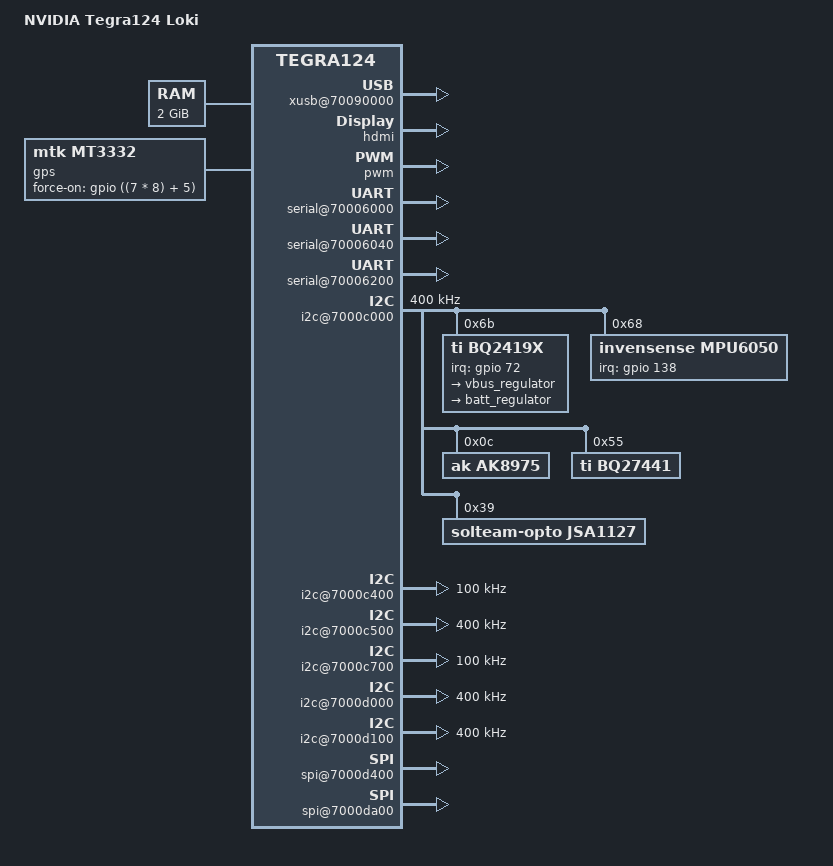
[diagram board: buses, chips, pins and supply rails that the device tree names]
# 1 "/home/abobo/桌面/android_kernel_xiaomi_mocha/arch/arm/boot/dts/tegra124-loki.dts"
# 1 "<built-in>"
# 1 "<命令行>"
# 1 "/home/abobo/桌面/android_kernel_xiaomi_mocha/arch/arm/boot/dts/tegra124-loki.dts"
/dts-v1/;

# 1 "/home/abobo/桌面/android_kernel_xiaomi_mocha/arch/arm/boot/dts/tegra124.dtsi" 1
# 1 "/home/abobo/桌面/android_kernel_xiaomi_mocha/arch/arm/boot/dts/include/dt-bindings/gpio/tegra-gpio.h" 1
# 13 "/home/abobo/桌面/android_kernel_xiaomi_mocha/arch/arm/boot/dts/include/dt-bindings/gpio/tegra-gpio.h"
# 1 "/home/abobo/桌面/android_kernel_xiaomi_mocha/arch/arm/boot/dts/include/dt-bindings/gpio/gpio.h" 1
# 14 "/home/abobo/桌面/android_kernel_xiaomi_mocha/arch/arm/boot/dts/include/dt-bindings/gpio/tegra-gpio.h" 2
# 2 "/home/abobo/桌面/android_kernel_xiaomi_mocha/arch/arm/boot/dts/tegra124.dtsi" 2
# 1 "/home/abobo/桌面/android_kernel_xiaomi_mocha/arch/arm/boot/dts/include/dt-bindings/input/input.h" 1
# 3 "/home/abobo/桌面/android_kernel_xiaomi_mocha/arch/arm/boot/dts/tegra124.dtsi" 2
# 1 "/home/abobo/桌面/android_kernel_xiaomi_mocha/arch/arm/boot/dts/include/dt-bindings/interrupt-controller/arm-gic.h" 1







# 1 "/home/abobo/桌面/android_kernel_xiaomi_mocha/arch/arm/boot/dts/include/dt-bindings/interrupt-controller/irq.h" 1
# 9 "/home/abobo/桌面/android_kernel_xiaomi_mocha/arch/arm/boot/dts/include/dt-bindings/interrupt-controller/arm-gic.h" 2
# 4 "/home/abobo/桌面/android_kernel_xiaomi_mocha/arch/arm/boot/dts/tegra124.dtsi" 2

/include/ "tegra124-soc.dtsi"

# 1 "/home/abobo/桌面/android_kernel_xiaomi_mocha/arch/arm/boot/dts/skeleton.dtsi" 1






/ {
 #address-cells = <1>;
 #size-cells = <1>;
 chosen { };
 aliases { };
 memory { device_type = "memory"; reg = <0 0>; };
};
# 8 "/home/abobo/桌面/android_kernel_xiaomi_mocha/arch/arm/boot/dts/tegra124.dtsi" 2

/ {
 compatible = "nvidia,tegra124";
 interrupt-parent = <&intc>;
 #address-cells = <1>;
 #size-cells = <1>;

 intc: interrupt-controller@50041000 {
  compatible = "arm,cortex-a15-gic";
  interrupt-controller;
  #interrupt-cells = <3>;
  reg = <0x50041000 0x1000>,
        <0x50042000 0x0100>;
 };

 lic: interrupt-controller@60004000 {
  compatible = "nvidia,tegra-gic";
  interrupt-controller;
  reg = <0x60004000 0x40>,
        <0x60004100 0x40>,
        <0x60004200 0x40>,
        <0x60004300 0x40>,
        <0x60004400 0x40>;
        };

 timer {
  compatible = "arm,armv7-timer";
  interrupts = <1 13 0xf04
         1 14 0xf04>;
 };

 xusb@70090000 {
  compatible = "nvidia,tegra124-xhci";
  reg = <0x70090000 0x8000
         0x70098000 0x1000
         0x70099000 0x1000
         0x7009F000 0x1000>;
  interrupts = <0 39 0x04
         0 40 0x04
         0 49 0x04
         0 97 0x04
         0 21 0x04>;
  status = "disable";
 };

 host1x {
  compatible = "nvidia,tegra124-host1x", "simple-bus";
  reg = <0x50000000 0x00028000>;
  interrupts = <0 65 0x04
         0 67 0x04>;
  nvidia,memory-clients = <4 6 7 17>;

  #address-cells = <1>;
  #size-cells = <1>;

  ranges = <0x53000000 0x53000000 0x06000000>;

  vi {
   compatible = "nvidia,tegra124-vi";
   reg = <0x54080000 0x00040000>;
   nvidia,memory-clients = <18>;
  };

  isp@54600000 {
   compatible = "nvidia,tegra124-isp";
   reg = <0x54600000 0x00040000>;
   nvidia,memory-clients = <8 29>;
  };

  isp@54680000 {
   compatible = "nvidia,tegra124-isp";
   reg = <0x54680000 0x00040000>;
   nvidia,memory-clients = <8 29>;
  };

  dc@54200000 {
   compatible = "nvidia,tegra124-dc";
   reg = <0x54200000 0x00040000>;
   interrupts = <0 73 0x04>;
   nvidia,memory-clients = <2>;
   status = "disabled";

   rgb {
    status = "disabled";
   };
  };

  dc@54240000 {
   compatible = "nvidia,tegra124-dc";
   reg = <0x54240000 0x00040000>;
   interrupts = <0 74 0x04>;
   nvidia,memory-clients = <3>;
   status = "disabled";

   rgb {
    status = "disabled";
   };
  };

  hdmi {
   compatible = "nvidia,tegra124-hdmi";
   reg = <0x54280000 0x00040000>;
   interrupts = <0 75 0x04>;
   status = "okay";
  };

  dsi {
   compatible = "nvidia,tegra124-dsi";
   reg = <0x54300000 0x00040000>,
         <0x54400000 0x00040000>;
   status = "disabled";
  };

  vic {
   compatible = "nvidia,tegra124-vic";
   reg = <0x54340000 0x00040000>;
   nvidia,memory-clients = <19>;
  };

  msenc {
   compatible = "nvidia,tegra124-msenc";
   reg = <0x544c0000 0x00040000>;
   nvidia,memory-clients = <11>;
  };

  tsec {
   compatible = "nvidia,tegra124-tsec";
   reg = <0x54500000 0x00040000>;
   nvidia,memory-clients = <23>;
  };

  gk20a {
   compatible = "nvidia,tegra124-gk20a";
   reg = <0x57000000 0x01000000>,
         <0x58000000 0x01000000>,
         <0x538F0000 0x00001000>;
   interrupts = <0 157 0x04
          0 158 0x04>;
   nvidia,memory-clients = <30 31>;
  };
 };

 mipical {
  compatible = "nvidia,tegra124-mipical";
  reg = <0x700e3000 0x00000100>;
 };

 pwm: pwm {
  compatible = "nvidia,tegra124-pwm";
  reg = <0x7000a000 0x100>;
  #pwm-cells = <2>;
  clocks = <&tegra_car 17>;
  status = "okay";
 };


};
# 4 "/home/abobo/桌面/android_kernel_xiaomi_mocha/arch/arm/boot/dts/tegra124-loki.dts" 2


/ {
 model = "NVIDIA Tegra124 Loki";
 compatible = "nvidia,loki", "nvidia,tegra124";
 nvidia,dtsfilename = "/home/abobo/桌面/android_kernel_xiaomi_mocha/arch/arm/boot/dts/tegra124-loki.dts";
 #address-cells = <1>;
 #size-cells = <1>;

 chosen {
  bootargs = "tegraid=40.0.0.00.00 vmalloc=256M video=tegrafb console=ttyS0,115200n8 earlyprintk";
  linux,initrd-start = <0x85000000>;
  linux,initrd-end = <0x851bc400>;
 };

 serial@70006000 {
  compatible = "nvidia,tegra114-hsuart";
  status = "okay";
 };

 serial@70006040 {
  compatible = "nvidia,tegra114-hsuart";
  status = "okay";
 };

 serial@70006200 {
  compatible = "nvidia,tegra114-hsuart";
  status = "okay";
 };

 memory@0x80000000 {
  device_type = "memory";
  reg = <0x80000000 0x80000000>;
 };

 i2c@7000c000 {
  status = "okay";
  clock-frequency = <400000>;
  bq2419x: bq2419x@6b {
   compatible = "ti,bq2419x";
   reg = <0x6b>;
   interrupt-parent = <&gpio>;
   interrupts = <72 0x0>;
   ti,charging-term-current-mA = <100>;

   vbus {
    regulator-name = "vbus_regulator";
    ti,otg-iusb-gpio = <&gpio ((8 * 8) + 4) 0>;
    consumers {
     c1 {
      regulator-consumer-supply = "usb_vbus";
      regulator-consumer-device = "tegra-ehci.0";
     };

     c2 {
      regulator-consumer-supply = "usb_vbus";
      regulator-consumer-device = "tegra-otg";
     };
    };
   };

   charger {
    regulator-name = "batt_regulator";
    regulator-max-microamp = <3000000>;
    ti,watchdog-timeout = <40>;
    ti,rtc-alarm-time = <3600>;
    ti,auto-recharge-time = <1800>;
    ti,disbale-suspend-during-charging;
    consumers {
     c1 {
      regulator-consumer-supply = "usb_bat_chg";
      regulator-consumer-device = "tegra-udc.0";
     };
    };
   };
  };

  mpu6050@68 {
   compatible = "invensense,mpu6050";
   reg = <0x68>;
   interrupt-parent = <&gpio>;
   interrupts = <138 0x01>;
   invensense,int_config = <0x10>;
   invensense,level_shifter = <0>;
   invensense,orientation = [ff 00 00 00 01 00 00 00 ff];
   invensense,sec_slave_type = <0>;
   invensense,key = [4e cc 7e eb f6 1e 35 22
       00 34 0d 65 32 e9 94 89];
  };

  ak8975@0c {
   compatible = "ak,ak8975";
   reg = <0x0c>;
   orientation = [01 00 00 00 ff 00 00 00 ff];
   config = "mpu";
  };

  bq27441@55 {
   compatible = "ti,bq27441";
   reg = <0x55>;
   ti,design-capacity = <7800>;
   ti,design-energy = <28314>;
   ti,taper-rate = <167>;
   ti,terminate-voltage = <3150>;
   ti,v-at-chg-term = <4200>;
   ti,tz-name = "battery-temp";
  };

  jsa1127@39 {
   compatible = "solteam-opto,jsa1127";
   reg = <0x39>;
   solteam-opto,rint = <100>;
   solteam-opto,integration-time = <200>;
   solteam-opto,use-internal-integration-timing = <1>;
   solteam-opto,tint-coeff = <22>;
   solteam-opto,noisy = <1>;
  };
 };

 i2c@7000c400 {
  status = "okay";
  clock-frequency = <100000>;
 };

 i2c@7000c500 {
  status = "okay";
  clock-frequency = <400000>;
 };

 i2c@7000c700 {
  status = "okay";
  clock-frequency = <100000>;
 };

 i2c@7000d000 {
  status = "okay";
  clock-frequency = <400000>;
  nvidia,bit-banging-xfer-after-shutdown;
 };

 i2c@7000d100 {
  status = "okay";
  clock-frequency = <400000>;
 };

 spi@7000d400 {
  status = "okay";
  spi-max-frequency = <25000000>;
 };

 spi@7000da00 {
  status = "okay";
  spi-max-frequency = <25000000>;
 };

 gps {
  compatible = "mtk,mt3332";
  force-on-gpios = <&gpio ((7 * 8) + 5) 0>;
 };

 pmc {
  status = "okay";
  nvidia,invert-interrupt;
  nvidia,suspend-mode = <3>;
  nvidia,cpu-pwr-good-time = <500>;
  nvidia,cpu-pwr-off-time = <300>;
  nvidia,core-pwr-good-time = <3845 3845>;
  nvidia,core-pwr-off-time = <2000>;
  nvidia,core-power-req-active-high;
  nvidia,sys-clock-req-active-high;
 };

 xusb@70090000 {


  nvidia,gpio_ss1_sata = <0>;
  nvidia,portmap = <0x703>;
  nvidia,ss_portmap = <0x20>;
  nvidia,lane_owner = <6>;
  nvidia,ulpicap = <0>;
  nvidia,supply_utmi_vbuses = "", "", "";
  nvidia,supply_s3p3v = "hvdd_usb";
  nvidia,supply_s1p8v = "avdd_pll_utmip";
  nvidia,supply_vddio_hsic = "vddio_hsic";
  nvidia,supply_s1p05v = "avddio_usb";
  status = "okay";
 };
};
